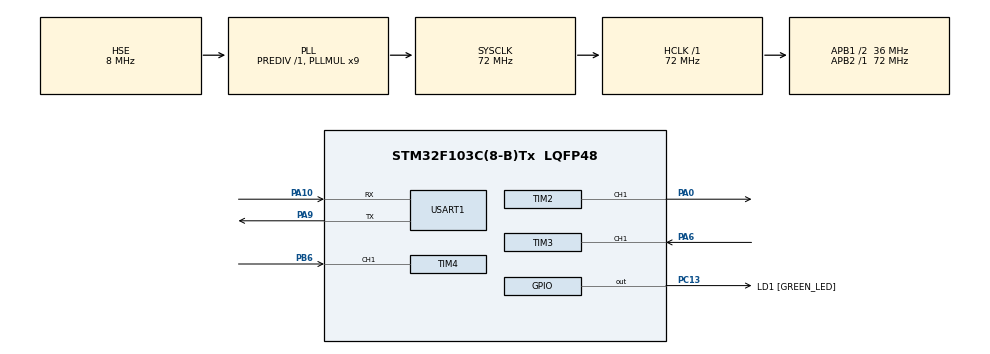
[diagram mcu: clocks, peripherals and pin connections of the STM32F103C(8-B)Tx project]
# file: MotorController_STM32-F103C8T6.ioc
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Dma.Request0=TIM2_CH1
Dma.Request1=TIM4_CH1
Dma.Request2=TIM4_CH2
Dma.TIM2_CH1.0.Direction=DMA_MEMORY_TO_PERIPH
Dma.TIM2_CH1.0.Instance=DMA1_Channel5
Dma.TIM2_CH1.0.MemDataAlignment=DMA_MDATAALIGN_HALFWORD
Dma.TIM2_CH1.0.MemInc=DMA_MINC_ENABLE
Dma.TIM2_CH1.0.Mode=DMA_NORMAL
Dma.TIM2_CH1.0.PeriphDataAlignment=DMA_PDATAALIGN_HALFWORD
Dma.TIM2_CH1.0.PeriphInc=DMA_PINC_DISABLE
Dma.TIM2_CH1.0.Priority=DMA_PRIORITY_LOW
Dma.TIM4_CH1.1.Direction=DMA_PERIPH_TO_MEMORY
Dma.TIM4_CH1.1.Instance=DMA1_Channel1
Dma.TIM4_CH1.1.MemDataAlignment=DMA_MDATAALIGN_HALFWORD
Dma.TIM4_CH1.1.MemInc=DMA_MINC_ENABLE
Dma.TIM4_CH1.1.Mode=DMA_CIRCULAR
Dma.TIM4_CH1.1.PeriphDataAlignment=DMA_PDATAALIGN_HALFWORD
Dma.TIM4_CH1.1.PeriphInc=DMA_PINC_DISABLE
Dma.TIM4_CH1.1.Priority=DMA_PRIORITY_HIGH
Dma.TIM4_CH2.2.Direction=DMA_PERIPH_TO_MEMORY
Dma.TIM4_CH2.2.Instance=DMA1_Channel4
Dma.TIM4_CH2.2.MemDataAlignment=DMA_MDATAALIGN_HALFWORD
Dma.TIM4_CH2.2.MemInc=DMA_MINC_ENABLE
Dma.TIM4_CH2.2.Mode=DMA_CIRCULAR
Dma.TIM4_CH2.2.PeriphDataAlignment=DMA_PDATAALIGN_HALFWORD
Dma.TIM4_CH2.2.PeriphInc=DMA_PINC_DISABLE
Dma.TIM4_CH2.2.Priority=DMA_PRIORITY_HIGH
Mcu.Family=STM32F1
Mcu.Name=STM32F103C(8-B)Tx
Mcu.Package=LQFP48
NVIC.DMA1_Channel1_IRQn=true\:0\:0\:false\:false\:true\:false\:true\:true
NVIC.DMA1_Channel4_IRQn=true\:0\:0\:false\:false\:true\:false\:true\:true
NVIC.DMA1_Channel5_IRQn=true\:0\:0\:false\:false\:true\:false\:true\:true
NVIC.PriorityGroup=NVIC_PRIORITYGROUP_4
NVIC.TIM1_UP_IRQn=true\:0\:0\:true\:false\:true\:true\:true\:true
NVIC.TIM2_IRQn=true\:0\:0\:false\:false\:true\:true\:true\:true
NVIC.TIM3_IRQn=true\:0\:0\:true\:false\:true\:true\:true\:true
NVIC.USART1_IRQn=true\:0\:0\:false\:false\:true\:true\:true\:true
PA0-WKUP.Signal=S_TIM2_CH1_ETR
PA10.Mode=Asynchronous
PA10.Signal=USART1_RX
PA6.GPIO_PuPd=GPIO_PULLDOWN
PA6.Signal=S_TIM3_CH1
PA9.Mode=Asynchronous
PA9.Signal=USART1_TX
PB6.GPIO_PuPd=GPIO_PULLDOWN
PB6.Signal=S_TIM4_CH1
PC13-TAMPER-RTC.GPIO_Label=LD1 [GREEN_LED]
PC13-TAMPER-RTC.PinState=GPIO_PIN_SET
PC13-TAMPER-RTC.Signal=GPIO_Output
PD0-OSC_IN.Mode=HSE-External-Oscillator
PD0-OSC_IN.Signal=RCC_OSC_IN
PD1-OSC_OUT.Mode=HSE-External-Oscillator
PD1-OSC_OUT.Signal=RCC_OSC_OUT
ProjectManager.HeapSize=0x200
ProjectManager.StackSize=0x400
ProjectManager.TargetToolchain=STM32CubeIDE
RCC.AHBFreq_Value=72000000
RCC.APB1CLKDivider=RCC_HCLK_DIV2
RCC.APB1Freq_Value=36000000
RCC.APB1TimFreq_Value=72000000
RCC.APB2Freq_Value=72000000
RCC.APB2TimFreq_Value=72000000
RCC.HCLKFreq_Value=72000000
RCC.PLLMUL=RCC_PLL_MUL9
RCC.PLLSourceVirtual=RCC_PLLSOURCE_HSE
RCC.SYSCLKFreq_VALUE=72000000
RCC.SYSCLKSource=RCC_SYSCLKSOURCE_PLLCLK
RCC.USBFreq_Value=72000000
SH.S_TIM2_CH1_ETR.0=TIM2_CH1,PWM Generation1 CH1
SH.S_TIM3_CH1.0=TIM3_CH1,Input_Capture1_from_TI1
SH.S_TIM4_CH1.0=TIM4_CH1,Input_Capture1_from_TI1
TIM1.Period=999
TIM1.Prescaler=71
TIM2.Channel-PWM\ Generation1\ CH1=TIM_CHANNEL_1
TIM2.OCFastMode_PWM-PWM\ Generation1\ CH1=TIM_OCFAST_ENABLE
TIM2.Period=999
TIM2.Prescaler=71
TIM3.Channel-Input_Capture1_from_TI1=TIM_CHANNEL_1
TIM3.Channel-Input_Capture2_from_TI1_63=TIM_CHANNEL_2
TIM3.ICFilter_CH1=4
TIM3.ICPolarity_CH2=TIM_INPUTCHANNELPOLARITY_FALLING
TIM3.Prescaler=71
TIM4.Channel-Input_Capture1_from_TI1=TIM_CHANNEL_1
TIM4.Channel-Input_Capture2_from_TI1_63=TIM_CHANNEL_2
TIM4.ICPolarity_CH1=TIM_INPUTCHANNELPOLARITY_FALLING
TIM4.Period=65535
TIM4.Prescaler=1
USART1.VirtualMode=VM_ASYNC
VP_SYS_VS_ND.Mode=No_Debug
VP_TIM1_VS_ClockSourceINT.Mode=Internal
VP_TIM2_VS_ClockSourceINT.Mode=Internal
VP_TIM3_VS_ClockSourceINT.Mode=Internal
VP_TIM3_VS_indirect_ch1.Mode=Input_Capture2_from_TI1_63
VP_TIM4_VS_ClockSourceINT.Mode=Internal
VP_TIM4_VS_indirect_ch1.Mode=Input_Capture2_from_TI1_63
board=custom

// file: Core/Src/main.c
/* USER CODE BEGIN Header */
/**
 ******************************************************************************
 * @file           : main.c
 * @brief          : Main program body
 ******************************************************************************
 * @attention
 *
 * Copyright (c) 2025 STMicroelectronics.
 * All rights reserved.
 *
 * This software is licensed under terms that can be found in the LICENSE file
 * in the root directory of this software component.
 * If no LICENSE file comes with this software, it is provided AS-IS.
 *
 ******************************************************************************
 */
/* USER CODE END Header */
#include "main.h"
#include "dma.h"
#include "tim.h"
#include "usart.h"
#include "gpio.h"

/* USER CODE BEGIN Includes */
#include "pwm.h"
#include "dshot.h"
#include "communication.h"
#include "motor_pwm.h"
/* USER CODE END Includes */

/* USER CODE BEGIN PD */
#define PWM_INPUT_CAPUTRE 0
/* USER CODE END PD */

/* USER CODE BEGIN PV */

volatile uint8_t uartRxFlag = 0;
volatile uint8_t uartRxFreqFlag = 0;
volatile uint8_t uartRxDshotPacketFlag = 0;
uint8_t uartRxBuffer[1] = { 0 };

volatile uint32_t dshotLastPulse = 0;
volatile uint32_t dshotPulseWidth = 0;

volatile uint8_t dshotReceiveFlag = 0;

DShotPacket dshotPacket = { 0 };

uint8_t dshotBuffer[16] = { 0 };

uint32_t captureEdgeBuffer[32];
volatile uint8_t dshotRxFlag = 0;

uint16_t dshotCaptureBuffer[16];
uint16_t dshotCaptureBuffer2[16];
//uint32_t dshotBufferPulse[16];

CommunicationType commType = PWM;
/* USER CODE END PV */

void SystemClock_Config(void);

int main(void) {

	/* MCU Configuration--------------------------------------------------------*/

	/* Reset of all peripherals, Initializes the Flash interface and the Systick. */
	HAL_Init();

	/* Configure the system clock */
	SystemClock_Config();

	/* Initialize all configured peripherals */
	MX_GPIO_Init();
	MX_DMA_Init();
	MX_USART1_UART_Init();
	MX_TIM1_Init();
	MX_TIM2_Init();
	MX_TIM3_Init();
	MX_TIM4_Init();
	/* USER CODE BEGIN 2 */
	HAL_TIM_Base_Start_IT(&htim1);

	if (commType == PWM) {
		MotorPwm_Init(&htim2, TIM_CHANNEL_1);
//		MotorPwm_SetThrottle(500);
//		HAL_TIM_PWM_Start(&htim2, TIM_CHANNEL_1);
//		HAL_TIM_IC_Start_IT(&htim3, TIM_CHANNEL_1);
//		HAL_TIM_IC_Start_IT(&htim3, TIM_CHANNEL_2);
//		PWM_UpdateDutyCycle(pwmDutyCycle);
	}
	if (commType == DSHOT) {
		DShot_TimerInit(DSHOT150, &htim2, TIM_CHANNEL_1);
//		HAL_TIM_IC_Start_IT(&htim4, TIM_CHANNEL_1);
//		HAL_TIM_IC_Start_DMA(&htim4, TIM_CHANNEL_1, (uint32_t*) dshotCaptureBuffer, 16);
//		HAL_TIM_IC_Start_DMA(&htim4, TIM_CHANNEL_2, (uint32_t*) dshotCaptureBuffer2, 16);
//
//		HAL_TIM_IC_Start_DMA(&htim3, TIM_CHANNEL_1, (uint32_t*) dshotCaptureBuffer, 16); // Capture 32 samples from Channel 1
//		HAL_TIM_IC_Start_IT(&htim3, TIM_CHANNEL_1);
//		HAL_TIM_IC_Start_IT(&htim3, TIM_CHANNEL_2);
	}
	Communication_TimerInit(commType, &htim3, TIM_CHANNEL_1, TIM_CHANNEL_2);
	UART_Print("Init done!\n");
	/* USER CODE END 2 */

	/* Infinite loop */
	/* USER CODE BEGIN WHILE */
	HAL_UART_Receive_IT(&huart1, uartRxBuffer, 1);
	while (1) {
		/* USER CODE END WHILE */

		/* USER CODE BEGIN 3 */
		if (timerFlag1000) {
			timerFlag1000 = 0;
			HAL_GPIO_TogglePin(LD1_GPIO_Port, LD1_Pin);
		}
		if (timerFlag2000) {
			timerFlag2000 = 0;
			if (PWM_INPUT_CAPUTRE) {
				UART_Printf("Frequency: %d, Duty: %d\n", (uint32_t) PWM_GetInputFreq(),
						(uint32_t) PWM_GetInputDutyCycle());
			}
		}
		if (uartRxFlag) {
			uartRxFlag = 0;
			PWM_UpdateDutyCycle(pwmDutyCycle);
		}
		if (uartRxFreqFlag) {
			uartRxFreqFlag = 0;
			PWM_UpdateFrequency(pwmFrequency);
		}
		if (uartRxDshotPacketFlag) {
			uartRxDshotPacketFlag = 0;
//			DShot_SendPacket(2047, 0);
			DShot_SendPacket(1024, 1);
		}
		Communication_SetThrottle();
	}
	/* USER CODE END 3 */
}

void SystemClock_Config(void) {
	RCC_OscInitTypeDef RCC_OscInitStruct = { 0 };
	RCC_ClkInitTypeDef RCC_ClkInitStruct = { 0 };

	/** Initializes the RCC Oscillators according to the specified parameters
	 * in the RCC_OscInitTypeDef structure.
	 */
	RCC_OscInitStruct.OscillatorType = RCC_OSCILLATORTYPE_HSE;
	RCC_OscInitStruct.HSEState = RCC_HSE_ON;
	RCC_OscInitStruct.HSEPredivValue = RCC_HSE_PREDIV_DIV1;
	RCC_OscInitStruct.HSIState = RCC_HSI_ON;
	RCC_OscInitStruct.PLL.PLLState = RCC_PLL_ON;
	RCC_OscInitStruct.PLL.PLLSource = RCC_PLLSOURCE_HSE;
	RCC_OscInitStruct.PLL.PLLMUL = RCC_PLL_MUL9;
	if (HAL_RCC_OscConfig(&RCC_OscInitStruct) != HAL_OK) {
		Error_Handler();
	}

	/** Initializes the CPU, AHB and APB buses clocks
	 */
	RCC_ClkInitStruct.ClockType = RCC_CLOCKTYPE_HCLK | RCC_CLOCKTYPE_SYSCLK | RCC_CLOCKTYPE_PCLK1 | RCC_CLOCKTYPE_PCLK2;
	RCC_ClkInitStruct.SYSCLKSource = RCC_SYSCLKSOURCE_PLLCLK;
	RCC_ClkInitStruct.AHBCLKDivider = RCC_SYSCLK_DIV1;
	RCC_ClkInitStruct.APB1CLKDivider = RCC_HCLK_DIV2;
	RCC_ClkInitStruct.APB2CLKDivider = RCC_HCLK_DIV1;

	if (HAL_RCC_ClockConfig(&RCC_ClkInitStruct, FLASH_LATENCY_2) != HAL_OK) {
		Error_Handler();
	}
}

/* USER CODE BEGIN 4 */

void HAL_UART_RxCpltCallback(UART_HandleTypeDef *huart) {
	if (huart->Instance == USART1) {
		if (uartRxBuffer[0] == 'w') {
			if (pwmDutyCycle < 100) {
				pwmDutyCycle += 10;
				uartRxFlag = 1;
			}
		} else if (uartRxBuffer[0] == 's') {
			if (pwmDutyCycle >= 10) {
				pwmDutyCycle -= 10;
				uartRxFlag = 1;
			}
		} else if (uartRxBuffer[0] == 'e') {
			if (pwmDutyCycle < 100) {
				pwmDutyCycle++;
				uartRxFlag = 1;
			}
		} else if (uartRxBuffer[0] == 'd') {
			if (pwmDutyCycle >= 1) {
				pwmDutyCycle--;
				uartRxFlag = 1;
			}
		} else if (uartRxBuffer[0] == 'r') {
			if (pwmFrequency < 65000) {
				pwmFrequency += 1000;
				uartRxFreqFlag = 1;
			}
		} else if (uartRxBuffer[0] == 'f') {
			if (pwmFrequency >= 1000) {
				pwmFrequency -= 1000;
				uartRxFreqFlag = 1;
			}
		} else if (uartRxBuffer[0] == 'q') {
			if (commType == DSHOT) {
				uartRxDshotPacketFlag = 1;
			}
		}
		UART_Printf("%d, %d\n", pwmDutyCycle, pwmFrequency);
		HAL_UART_Receive_IT(&huart1, uartRxBuffer, 1);
	}
}

void HAL_TIM_IC_CaptureCallback(TIM_HandleTypeDef *htim) {
//	PWM_InputCaptureHandler(htim);
	Communication_InputCaptureHandler(htim);
}

//void HAL_TIM_IC_CaptureCallback(TIM_HandleTypeDef *htim) {
//	static uint8_t edgeCounter = 0;
//	if (htim->Instance == TIM3) {
//		if (htim->Channel == HAL_TIM_ACTIVE_CHANNEL_1) {
//			// read period (time between rising edges)
//			period = HAL_TIM_ReadCapturedValue(htim, TIM_CHANNEL_1);
////			UART_Printf("%d, ", period);
////			captureEdgeBuffer[edgeCounter] = period;
////			++edgeCounter;
//		} else if (htim->Channel == HAL_TIM_ACTIVE_CHANNEL_2) {
//			// read high time (rising to falling edge)
//			highTime = HAL_TIM_ReadCapturedValue(htim, TIM_CHANNEL_2);
////			UART_Printf("%d, ", highTime);
////			captureEdgeBuffer[edgeCounter] = highTime;
////			++edgeCounter;
//		}
////		if (edgeCounter >= 32) {
////			edgeCounter = 0;
////			dshotRxFlag = 1;
////		}
//
////		dutyCycle = ((float) highTime / (float) (period + 1)) * 100.0f;
////		if (edgeCounter % 2 == 0) {
////			WriteDshotBuffer((uint8_t) dutyCycle);
////		}
//		dutyCycle = (uint8_t) ((((float) highTime / (float) period) * 100.0f) + 0.5f);
//		frequency = (float) (SystemCoreClock / (htim->Instance->PSC + 1) / (float) (period + 1));
//	} else if (htim->Instance == TIM4) {
//		if (htim->Channel == HAL_TIM_ACTIVE_CHANNEL_1) {
//			UART_Print("Done DMA1!");
//			for (uint8_t i = 0; i < 16; i++) {
//				UART_Printf("%d, ", dshotCaptureBuffer[i]);
//			}
////        	uint32_t dshotPulse = HAL_TIM_ReadCapturedValue(htim, TIM_CHANNEL_1);
//////        	dshotPulseWidth = dshotPulse - dshotLastPulse;
////            if (dshotPulse >= dshotLastPulse){
////            	dshotPulseWidth = dshotPulse - dshotLastPulse;
////            }
////            else{
////            	dshotPulseWidth = (0xFFFF - dshotLastPulse) + dshotPulse;  // handle timer rollover
////            }
////        	dshotLastPulse = dshotPulse;
//////        	WriteDshotBufferPulse(dshotPulseWidth);
//		} else if (htim->Channel == HAL_TIM_ACTIVE_CHANNEL_2) {
//			UART_Print("Done DMA2!");
//			for (uint8_t i = 0; i < 16; i++) {
//				UART_Printf("%d, ", dshotCaptureBuffer2[i]);
//			}
//		}
//	}
//}

/* USER CODE END 4 */

void Error_Handler(void) {
	__disable_irq();
	while (1) {
	}
}
